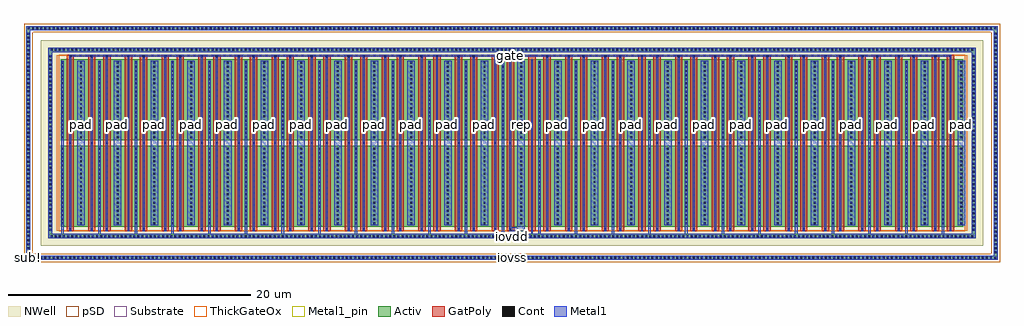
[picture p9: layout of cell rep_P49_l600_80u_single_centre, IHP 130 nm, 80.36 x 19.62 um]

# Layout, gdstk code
import gdstk
lib = gdstk.Library(unit=1e-6, precision=1e-09)
def R(c, l, rs):  # rectangles x0, y0, x1, y1
    for r in rs: c.add(gdstk.rectangle(r[:2], r[2:], *l))
def A(c, l, x, y, w, h, nx, ny, dx, dy):  # array of equal rectangles
    R(c, l, [(x+i*dx, y+j*dy, x+i*dx+w, y+j*dy+h) for i in range(nx) for j in range(ny)])
def P(c, l, *ps):  # polygons
    for p in ps: c.add(gdstk.Polygon(p, *l))
Activ = (1, 0)
GatPoly = (5, 0)
Cont = (6, 0)
Metal1 = (8, 0)
Metal1_pin = (8, 2)
pSD = (14, 0)
NWell = (31, 0)
Substrate = (40, 0)
ThickGateOx = (44, 0)

rep_p49_l600_80u_single_ = lib.new_cell('rep_P49_l600_80u_single_centre')
R(rep_p49_l600_80u_single_, Activ, [(2.855,2.75,77.145,9.41), (2.855,9.85,77.145,16.51)])
P(rep_p49_l600_80u_single_, Activ, [(1.8,1.8),(1.8,17.12),(2.14,17.12),(2.14,2.14),(77.86,2.14),(77.86,17.12),(1.8,17.12),(1.8,17.46),(78.2,17.46),(78.2,1.8)],
  [(0,0),(0,18.92),(0.34,18.92),(0.34,0.34),(79.66,0.34),(79.66,18.92),(0,18.92),(0,19.26),(80,19.26),(80,0)])
R(rep_p49_l600_80u_single_, GatPoly, [(3.325,2.38,3.925,16.88), (5.105,2.38,5.705,16.88), (6.345,2.38,6.945,16.88), (8.125,2.38,8.725,16.88), (9.365,2.38,9.965,16.88), (11.145,2.38,11.745,16.88), (12.385,2.38,12.985,16.88), (14.165,2.38,14.765,16.88), (15.405,2.38,16.005,16.88), (17.185,2.38,17.785,16.88), (18.425,2.38,19.025,16.88), (20.205,2.38,20.805,16.88), (21.445,2.38,22.045,16.88), (23.225,2.38,23.825,16.88), (24.465,2.38,25.065,16.88), (26.245,2.38,26.845,16.88), (27.485,2.38,28.085,16.88), (29.265,2.38,29.865,16.88), (30.505,2.38,31.105,16.88), (32.285,2.38,32.885,16.88), (33.525,2.38,34.125,16.88), (35.305,2.38,35.905,16.88), (36.545,2.38,37.145,16.88), (38.325,2.38,38.925,16.88), (39.565,2.38,40.165,16.88), (41.345,2.38,41.945,16.88), (42.585,2.38,43.185,16.88), (44.365,2.38,44.965,16.88), (45.605,2.38,46.205,16.88), (47.385,2.38,47.985,16.88), (48.625,2.38,49.225,16.88), (50.405,2.38,51.005,16.88), (51.645,2.38,52.245,16.88), (53.425,2.38,54.025,16.88), (54.665,2.38,55.265,16.88), (56.445,2.38,57.045,16.88), (57.685,2.38,58.285,16.88), (59.465,2.38,60.065,16.88), (60.705,2.38,61.305,16.88), (62.485,2.38,63.085,16.88), (63.725,2.38,64.325,16.88), (65.505,2.38,66.105,16.88), (66.745,2.38,67.345,16.88), (68.525,2.38,69.125,16.88), (69.765,2.38,70.365,16.88), (71.545,2.38,72.145,16.88), (72.785,2.38,73.385,16.88), (74.565,2.38,75.165,16.88), (75.805,2.38,76.405,16.88)])
A(rep_p49_l600_80u_single_, Cont, 0.14, 0.09, 0.16, 0.16, 235, 2, 0.34, 18.92)
A(rep_p49_l600_80u_single_, Cont, 0.09, 0.54, 0.16, 0.16, 1, 54, 0, 0.34)
A(rep_p49_l600_80u_single_, Cont, 79.75, 0.54, 0.16, 0.16, 1, 54, 0, 0.34)
A(rep_p49_l600_80u_single_, Cont, 2.01, 1.89, 0.16, 0.16, 224, 2, 0.34, 15.32)
A(rep_p49_l600_80u_single_, Cont, 1.89, 2.41, 0.16, 0.16, 1, 43, 0, 0.34)
A(rep_p49_l600_80u_single_, Cont, 77.95, 2.41, 0.16, 0.16, 1, 43, 0, 0.34)
A(rep_p49_l600_80u_single_, Cont, 3.545, 2.45, 0.16, 0.16, 1, 3, 0, 7.1)
A(rep_p49_l600_80u_single_, Cont, 5.325, 2.45, 0.16, 0.16, 1, 3, 0, 7.1)
A(rep_p49_l600_80u_single_, Cont, 6.565, 2.45, 0.16, 0.16, 1, 3, 0, 7.1)
A(rep_p49_l600_80u_single_, Cont, 8.345, 2.45, 0.16, 0.16, 1, 3, 0, 7.1)
A(rep_p49_l600_80u_single_, Cont, 9.585, 2.45, 0.16, 0.16, 1, 3, 0, 7.1)
A(rep_p49_l600_80u_single_, Cont, 11.365, 2.45, 0.16, 0.16, 1, 3, 0, 7.1)
A(rep_p49_l600_80u_single_, Cont, 12.605, 2.45, 0.16, 0.16, 1, 3, 0, 7.1)
A(rep_p49_l600_80u_single_, Cont, 14.385, 2.45, 0.16, 0.16, 1, 3, 0, 7.1)
A(rep_p49_l600_80u_single_, Cont, 15.625, 2.45, 0.16, 0.16, 1, 3, 0, 7.1)
A(rep_p49_l600_80u_single_, Cont, 17.405, 2.45, 0.16, 0.16, 1, 3, 0, 7.1)
A(rep_p49_l600_80u_single_, Cont, 18.645, 2.45, 0.16, 0.16, 1, 3, 0, 7.1)
A(rep_p49_l600_80u_single_, Cont, 20.425, 2.45, 0.16, 0.16, 1, 3, 0, 7.1)
A(rep_p49_l600_80u_single_, Cont, 21.665, 2.45, 0.16, 0.16, 1, 3, 0, 7.1)
A(rep_p49_l600_80u_single_, Cont, 23.445, 2.45, 0.16, 0.16, 1, 3, 0, 7.1)
A(rep_p49_l600_80u_single_, Cont, 24.685, 2.45, 0.16, 0.16, 1, 3, 0, 7.1)
A(rep_p49_l600_80u_single_, Cont, 26.465, 2.45, 0.16, 0.16, 1, 3, 0, 7.1)
A(rep_p49_l600_80u_single_, Cont, 27.705, 2.45, 0.16, 0.16, 1, 3, 0, 7.1)
A(rep_p49_l600_80u_single_, Cont, 29.485, 2.45, 0.16, 0.16, 1, 3, 0, 7.1)
A(rep_p49_l600_80u_single_, Cont, 30.725, 2.45, 0.16, 0.16, 1, 3, 0, 7.1)
A(rep_p49_l600_80u_single_, Cont, 32.505, 2.45, 0.16, 0.16, 1, 3, 0, 7.1)
A(rep_p49_l600_80u_single_, Cont, 33.745, 2.45, 0.16, 0.16, 1, 3, 0, 7.1)
A(rep_p49_l600_80u_single_, Cont, 35.525, 2.45, 0.16, 0.16, 1, 3, 0, 7.1)
A(rep_p49_l600_80u_single_, Cont, 36.765, 2.45, 0.16, 0.16, 1, 3, 0, 7.1)
A(rep_p49_l600_80u_single_, Cont, 38.545, 2.45, 0.16, 0.16, 1, 3, 0, 7.1)
A(rep_p49_l600_80u_single_, Cont, 42.805, 2.45, 0.16, 0.16, 1, 3, 0, 7.1)
A(rep_p49_l600_80u_single_, Cont, 44.585, 2.45, 0.16, 0.16, 1, 3, 0, 7.1)
A(rep_p49_l600_80u_single_, Cont, 45.825, 2.45, 0.16, 0.16, 1, 3, 0, 7.1)
A(rep_p49_l600_80u_single_, Cont, 47.605, 2.45, 0.16, 0.16, 1, 3, 0, 7.1)
A(rep_p49_l600_80u_single_, Cont, 48.845, 2.45, 0.16, 0.16, 1, 3, 0, 7.1)
A(rep_p49_l600_80u_single_, Cont, 50.625, 2.45, 0.16, 0.16, 1, 3, 0, 7.1)
A(rep_p49_l600_80u_single_, Cont, 51.865, 2.45, 0.16, 0.16, 1, 3, 0, 7.1)
A(rep_p49_l600_80u_single_, Cont, 53.645, 2.45, 0.16, 0.16, 1, 3, 0, 7.1)
A(rep_p49_l600_80u_single_, Cont, 54.885, 2.45, 0.16, 0.16, 1, 3, 0, 7.1)
A(rep_p49_l600_80u_single_, Cont, 56.665, 2.45, 0.16, 0.16, 1, 3, 0, 7.1)
A(rep_p49_l600_80u_single_, Cont, 57.905, 2.45, 0.16, 0.16, 1, 3, 0, 7.1)
A(rep_p49_l600_80u_single_, Cont, 59.685, 2.45, 0.16, 0.16, 1, 3, 0, 7.1)
A(rep_p49_l600_80u_single_, Cont, 60.925, 2.45, 0.16, 0.16, 1, 3, 0, 7.1)
A(rep_p49_l600_80u_single_, Cont, 62.705, 2.45, 0.16, 0.16, 1, 3, 0, 7.1)
A(rep_p49_l600_80u_single_, Cont, 63.945, 2.45, 0.16, 0.16, 1, 3, 0, 7.1)
A(rep_p49_l600_80u_single_, Cont, 65.725, 2.45, 0.16, 0.16, 1, 3, 0, 7.1)
A(rep_p49_l600_80u_single_, Cont, 66.965, 2.45, 0.16, 0.16, 1, 3, 0, 7.1)
A(rep_p49_l600_80u_single_, Cont, 68.745, 2.45, 0.16, 0.16, 1, 3, 0, 7.1)
A(rep_p49_l600_80u_single_, Cont, 69.985, 2.45, 0.16, 0.16, 1, 3, 0, 7.1)
A(rep_p49_l600_80u_single_, Cont, 71.765, 2.45, 0.16, 0.16, 1, 3, 0, 7.1)
A(rep_p49_l600_80u_single_, Cont, 73.005, 2.45, 0.16, 0.16, 1, 3, 0, 7.1)
A(rep_p49_l600_80u_single_, Cont, 74.785, 2.45, 0.16, 0.16, 1, 3, 0, 7.1)
A(rep_p49_l600_80u_single_, Cont, 76.025, 2.45, 0.16, 0.16, 1, 3, 0, 7.1)
A(rep_p49_l600_80u_single_, Cont, 2.925, 2.94, 0.16, 0.16, 50, 19, 1.51, 0.34)
A(rep_p49_l600_80u_single_, Cont, 2.925, 10.04, 0.16, 0.16, 50, 19, 1.51, 0.34)
R(rep_p49_l600_80u_single_, Cont, [(39.785,2.45,39.945,2.61), (41.565,2.45,41.725,2.61), (39.785,9.55,39.945,9.71), (41.565,9.55,41.725,9.71)])
A(rep_p49_l600_80u_single_, Metal1, 2.9, 1.8, 0.21, 14.6, 25, 1, 3.02, 0)
A(rep_p49_l600_80u_single_, Metal1, 4.205, 2.86, 0.62, 13.54, 12, 1, 3.02, 0)
A(rep_p49_l600_80u_single_, Metal1, 43.465, 2.86, 0.62, 13.54, 12, 1, 3.02, 0)
R(rep_p49_l600_80u_single_, Metal1, [(41.565,1.8,41.725,16.51), (3.545,2.37,3.705,16.73), (5.325,2.37,5.485,16.73), (6.565,2.37,6.725,16.73), (8.345,2.37,8.505,16.73), (9.585,2.37,9.745,16.73), (11.365,2.37,11.525,16.73), (12.605,2.37,12.765,16.73), (14.385,2.37,14.545,16.73), (15.625,2.37,15.785,16.73), (17.405,2.37,17.565,16.73), (18.645,2.37,18.805,16.73), (20.425,2.37,20.585,16.73), (21.665,2.37,21.825,16.73), (23.445,2.37,23.605,16.73), (24.685,2.37,24.845,16.73), (26.465,2.37,26.625,16.73), (27.705,2.37,27.865,16.73), (29.485,2.37,29.645,16.73), (30.725,2.37,30.885,16.73), (32.505,2.37,32.665,16.73), (33.745,2.37,33.905,16.73), (35.525,2.37,35.685,16.73), (36.765,2.37,36.925,16.73), (38.545,2.37,38.705,16.73), (39.785,2.37,41.065,2.69), (39.785,2.37,39.945,16.51), (40.445,2.37,41.065,16.4), (42.805,2.37,42.965,16.73), (44.585,2.37,44.745,16.73), (45.825,2.37,45.985,16.73), (47.605,2.37,47.765,16.73), (48.845,2.37,49.005,16.73), (50.625,2.37,50.785,16.73), (51.865,2.37,52.025,16.73), (53.645,2.37,53.805,16.73), (54.885,2.37,55.045,16.73), (56.665,2.37,56.825,16.73), (57.905,2.37,58.065,16.73), (59.685,2.37,59.845,16.73), (60.925,2.37,61.085,16.73), (62.705,2.37,62.865,16.73), (63.945,2.37,64.105,16.73), (65.725,2.37,65.885,16.73), (66.965,2.37,67.125,16.73), (68.745,2.37,68.905,16.73), (69.985,2.37,70.145,16.73), (71.765,2.37,71.925,16.73), (73.005,2.37,73.165,16.73), (74.785,2.37,74.945,16.73), (76.025,2.37,76.185,16.73), (3.545,16.73,76.185,16.89)])
P(rep_p49_l600_80u_single_, Metal1, [(1.8,1.8),(1.8,17.12),(2.14,17.12),(2.14,2.14),(77.86,2.14),(77.86,17.12),(1.8,17.12),(1.8,17.46),(78.2,17.46),(78.2,1.8)],
  [(0,0),(0,18.92),(0.34,18.92),(0.34,0.34),(79.66,0.34),(79.66,18.92),(0,18.92),(0,19.26),(80,19.26),(80,0)])
A(rep_p49_l600_80u_single_, Metal1_pin, 4.205, 2.86, 0.62, 13.54, 12, 1, 3.02, 0)
A(rep_p49_l600_80u_single_, Metal1_pin, 43.465, 2.86, 0.62, 13.54, 12, 1, 3.02, 0)
R(rep_p49_l600_80u_single_, Metal1_pin, [(0,0,80,0.34), (1.8,1.8,78.2,2.14), (40.445,2.37,41.065,16.4), (3.545,16.73,76.185,16.89)])
R(rep_p49_l600_80u_single_, pSD, [(2.675,2.35,77.325,16.91)])
P(rep_p49_l600_80u_single_, pSD, [(-0.18,-0.18),(-0.18,18.74),(0.52,18.74),(0.52,0.52),(79.48,0.52),(79.48,18.74),(-0.18,18.74),(-0.18,19.44),(80.18,19.44),(80.18,-0.18)])
R(rep_p49_l600_80u_single_, NWell, [(1.18,1.18,78.82,18.08), (2.235,2.13,77.765,17.13)])
P(rep_p49_l600_80u_single_, Substrate, [(0,0),(0,18.92),(0.34,18.92),(0.34,0.34),(79.66,0.34),(79.66,18.92),(0,18.92),(0,19.26),(80,19.26),(80,0)])
R(rep_p49_l600_80u_single_, ThickGateOx, [(2.515,2.41,77.485,16.85)])
rep_p49_l600_80u_single_.add(gdstk.Label('pad', (4.515,11.163), layer=8, texttype=25))
rep_p49_l600_80u_single_.add(gdstk.Label('pad', (7.535,11.163), layer=8, texttype=25))
rep_p49_l600_80u_single_.add(gdstk.Label('pad', (10.555,11.163), layer=8, texttype=25))
rep_p49_l600_80u_single_.add(gdstk.Label('pad', (13.575,11.163), layer=8, texttype=25))
rep_p49_l600_80u_single_.add(gdstk.Label('pad', (16.595,11.163), layer=8, texttype=25))
rep_p49_l600_80u_single_.add(gdstk.Label('pad', (19.615,11.163), layer=8, texttype=25))
rep_p49_l600_80u_single_.add(gdstk.Label('pad', (22.635,11.163), layer=8, texttype=25))
rep_p49_l600_80u_single_.add(gdstk.Label('pad', (25.655,11.163), layer=8, texttype=25))
rep_p49_l600_80u_single_.add(gdstk.Label('pad', (28.675,11.163), layer=8, texttype=25))
rep_p49_l600_80u_single_.add(gdstk.Label('pad', (31.695,11.163), layer=8, texttype=25))
rep_p49_l600_80u_single_.add(gdstk.Label('pad', (34.715,11.163), layer=8, texttype=25))
rep_p49_l600_80u_single_.add(gdstk.Label('pad', (37.735,11.163), layer=8, texttype=25))
rep_p49_l600_80u_single_.add(gdstk.Label('rep', (40.755,11.163), layer=8, texttype=25))
rep_p49_l600_80u_single_.add(gdstk.Label('pad', (43.775,11.163), layer=8, texttype=25))
rep_p49_l600_80u_single_.add(gdstk.Label('pad', (46.795,11.163), layer=8, texttype=25))
rep_p49_l600_80u_single_.add(gdstk.Label('pad', (49.815,11.163), layer=8, texttype=25))
rep_p49_l600_80u_single_.add(gdstk.Label('pad', (52.835,11.163), layer=8, texttype=25))
rep_p49_l600_80u_single_.add(gdstk.Label('pad', (55.855,11.163), layer=8, texttype=25))
rep_p49_l600_80u_single_.add(gdstk.Label('pad', (58.875,11.163), layer=8, texttype=25))
rep_p49_l600_80u_single_.add(gdstk.Label('pad', (61.895,11.163), layer=8, texttype=25))
rep_p49_l600_80u_single_.add(gdstk.Label('pad', (64.915,11.163), layer=8, texttype=25))
rep_p49_l600_80u_single_.add(gdstk.Label('pad', (67.935,11.163), layer=8, texttype=25))
rep_p49_l600_80u_single_.add(gdstk.Label('pad', (70.955,11.163), layer=8, texttype=25))
rep_p49_l600_80u_single_.add(gdstk.Label('pad', (73.975,11.163), layer=8, texttype=25))
rep_p49_l600_80u_single_.add(gdstk.Label('pad', (76.995,11.163), layer=8, texttype=25))
rep_p49_l600_80u_single_.add(gdstk.Label('gate', (39.865,16.81), layer=8, texttype=25))
rep_p49_l600_80u_single_.add(gdstk.Label('iovdd', (40,1.97), layer=8, texttype=25))
rep_p49_l600_80u_single_.add(gdstk.Label('iovss', (40,0.17), layer=8, texttype=25))
rep_p49_l600_80u_single_.add(gdstk.Label('sub!', (0.17,0.17), layer=63, texttype=0))

lib.write_gds('rep_P49_l600_80u_single_centre.gds')
